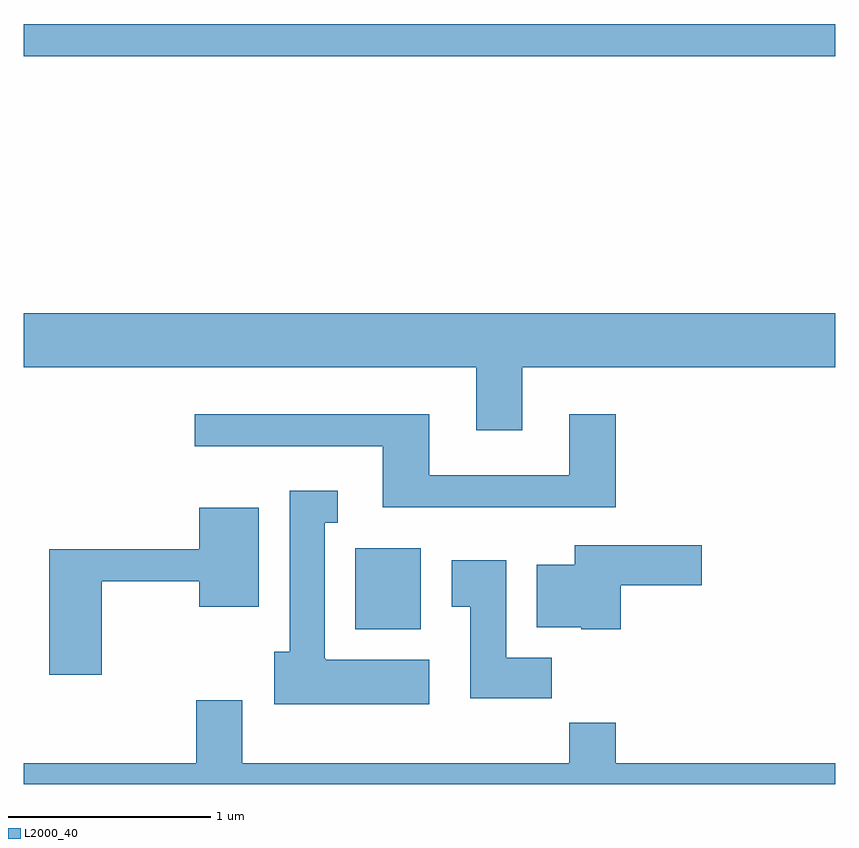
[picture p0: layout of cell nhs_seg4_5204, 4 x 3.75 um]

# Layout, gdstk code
import gdstk
lib = gdstk.Library(unit=1e-6, precision=1e-09)
def R(c, l, rs):  # rectangles x0, y0, x1, y1
    for r in rs: c.add(gdstk.rectangle(r[:2], r[2:], *l))
def P(c, l, *ps):  # polygons
    for p in ps: c.add(gdstk.Polygon(p, *l))
L2000_40 = (2000, 40)

nhs_seg4_5204 = lib.new_cell('nhs_seg4_5204')
R(nhs_seg4_5204, L2000_40, [(339.246,1326.746,339.569,1327.144), (337.611,1329.571,341.611,1329.729)])
P(nhs_seg4_5204, L2000_40, [(340.069,1328.036),(341.611,1328.036),(341.611,1328.304),(337.611,1328.304),(337.611,1328.036),(339.841,1328.036),(339.841,1327.726),(340.069,1327.726)],
  [(340.529,1327.804),(340.301,1327.804),(340.301,1327.504),(339.609,1327.504),(339.609,1327.804),(338.453,1327.804),(338.453,1327.646),(339.381,1327.646),(339.381,1327.346),(340.529,1327.346)],
  [(339.609,1326.594),(339.1,1326.594),(339.1,1326.6),(339.094,1326.6),(339.094,1327.271),(339.158,1327.271),(339.158,1327.429),(338.921,1327.429),(338.921,1326.634),(338.846,1326.634),(338.846,1326.376),(339.609,1326.376)],
  [(337.994,1326.981),(338.476,1326.981),(338.476,1326.856),(338.769,1326.856),(338.769,1327.344),(338.476,1327.344),(338.476,1327.139),(337.736,1327.139),(337.736,1326.521),(337.994,1326.521)],
  [(340.554,1326.961),(340.954,1326.961),(340.954,1327.159),(340.326,1327.159),(340.326,1327.064),(340.141,1327.064),(340.141,1326.756),(340.36,1326.756),(340.36,1326.746),(340.554,1326.746)],
  [(340.214,1326.604),(339.989,1326.604),(339.989,1327.084),(339.721,1327.084),(339.721,1326.856),(339.811,1326.856),(339.811,1326.406),(340.214,1326.406)],
  [(341.611,1326.084),(340.529,1326.084),(340.529,1326.284),(340.301,1326.284),(340.301,1326.084),(338.689,1326.084),(338.689,1326.394),(338.461,1326.394),(338.461,1326.084),(337.611,1326.084),(337.611,1325.982),(341.611,1325.982)])

lib.write_gds('nhs_seg4_5204.gds')
